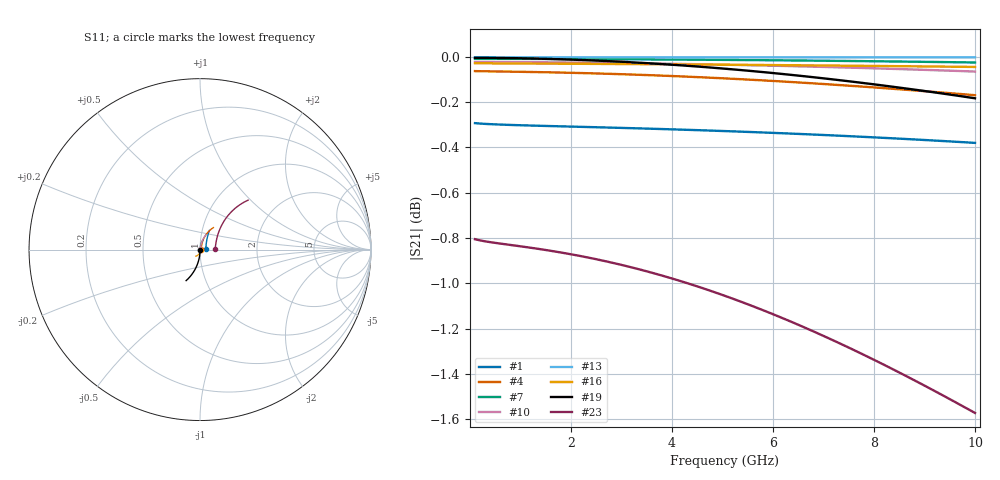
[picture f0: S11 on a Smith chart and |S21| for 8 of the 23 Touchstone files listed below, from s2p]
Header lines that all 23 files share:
# Hz S RI R 50.00
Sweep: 100 MHz to 10 GHz
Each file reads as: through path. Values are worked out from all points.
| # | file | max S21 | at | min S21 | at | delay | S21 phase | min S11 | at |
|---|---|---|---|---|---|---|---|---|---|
| 1 | 1002.s2p | -0.29 dB | 100 MHz | -0.4 dB | 10 GHz | 2.7 ps | -5 deg at 5.1 GHz | -29.6 dB | 100 MHz |
| 2 | 1006.s2p | 0.00 dB | 100 MHz | 0.0 dB | 10 GHz | - | -3 deg at 5.1 GHz | -67.8 dB | 100 MHz |
| 3 | 1007.s2p | -0.02 dB | 100 MHz | 0.0 dB | 10 GHz | 4.41 ps | -8 deg at 5.1 GHz | -53.1 dB | 100 MHz |
| 4 | 1008.s2p | -0.06 dB | 100 MHz | -0.2 dB | 10 GHz | 7.92 ps | -15 deg at 5.1 GHz | -42.6 dB | 100 MHz |
| 5 | 1010.s2p | -0.05 dB | 100 MHz | -0.2 dB | 10 GHz | 5.89 ps | -11 deg at 5.1 GHz | -44.4 dB | 100 MHz |
| 6 | 1011.s2p | -0.32 dB | 100 MHz | -0.6 dB | 10 GHz | 5.41 ps | -10 deg at 5.1 GHz | -28.8 dB | 100 MHz |
| 7 | 1012.s2p | -0.01 dB | 100 MHz | 0.0 dB | 10 GHz | 4.07 ps | -7 deg at 5.1 GHz | -58.7 dB | 100 MHz |
| 8 | 1017.s2p | -0.15 dB | 100 MHz | -0.4 dB | 10 GHz | 5.54 ps | -10 deg at 5.1 GHz | -35.5 dB | 100 MHz |
| 9 | 1020.s2p | -0.08 dB | 100 MHz | -0.2 dB | 10 GHz | 8.61 ps | -16 deg at 5.1 GHz | -41.0 dB | 100 MHz |
| 10 | 1022.s2p | -0.02 dB | 100 MHz | -0.1 dB | 10 GHz | 5.7 ps | -10 deg at 5.1 GHz | -51.3 dB | 100 MHz |
| 11 | 1024.s2p | -0.19 dB | 100 MHz | -0.5 dB | 10 GHz | 8.62 ps | -16 deg at 5.1 GHz | -33.2 dB | 100 MHz |
| 12 | 1025.s2p | -0.18 dB | 100 MHz | -0.8 dB | 10 GHz | 10.6 ps | -20 deg at 5.1 GHz | -33.4 dB | 100 MHz |
| 13 | 1026.s2p | 0.00 dB | 100 MHz | 0.0 dB | 10 GHz | - | -0 deg at 5.1 GHz | -73.0 dB | 100 MHz |
| 14 | 1027.s2p | -0.01 dB | 100 MHz | 0.0 dB | 10 GHz | 3.03 ps | -6 deg at 5.1 GHz | -55.5 dB | 100 MHz |
| 15 | 1028.s2p | -0.20 dB | 100 MHz | -0.6 dB | 10 GHz | 8.92 ps | -17 deg at 5.1 GHz | -32.8 dB | 100 MHz |
| 16 | 1030.s2p | -0.03 dB | 100 MHz | 0.0 dB | 10 GHz | 9.96 ps | -18 deg at 5.1 GHz | -49.7 dB | 100 MHz |
| 17 | 1031.s2p | -0.03 dB | 100 MHz | -0.2 dB | 10 GHz | 8.42 ps | -16 deg at 5.1 GHz | -47.7 dB | 100 MHz |
| 18 | 1034.s2p | -0.32 dB | 100 MHz | -0.6 dB | 10 GHz | 5.4 ps | -10 deg at 5.1 GHz | -28.7 dB | 100 MHz |
| 19 | 1035.s2p | 0.00 dB | 100 MHz | -0.2 dB | 10 GHz | 6.72 ps | -12 deg at 5.1 GHz | -53.5 dB | 100 MHz |
| 20 | 1036.s2p | -0.01 dB | 100 MHz | 0.0 dB | 10 GHz | 2.87 ps | -5 deg at 5.1 GHz | -58.1 dB | 100 MHz |
| 21 | 1037.s2p | -0.10 dB | 100 MHz | -0.2 dB | 10 GHz | 2.44 ps | -4 deg at 5.1 GHz | -38.7 dB | 100 MHz |
| 22 | 1039.s2p | -0.06 dB | 100 MHz | -0.2 dB | 10 GHz | 4.63 ps | -9 deg at 5.1 GHz | -43.3 dB | 100 MHz |
| 23 | 1040.s2p | -0.80 dB | 100 MHz | -1.6 dB | 10 GHz | 8.98 ps | -17 deg at 5.1 GHz | -21.1 dB | 100 MHz |
